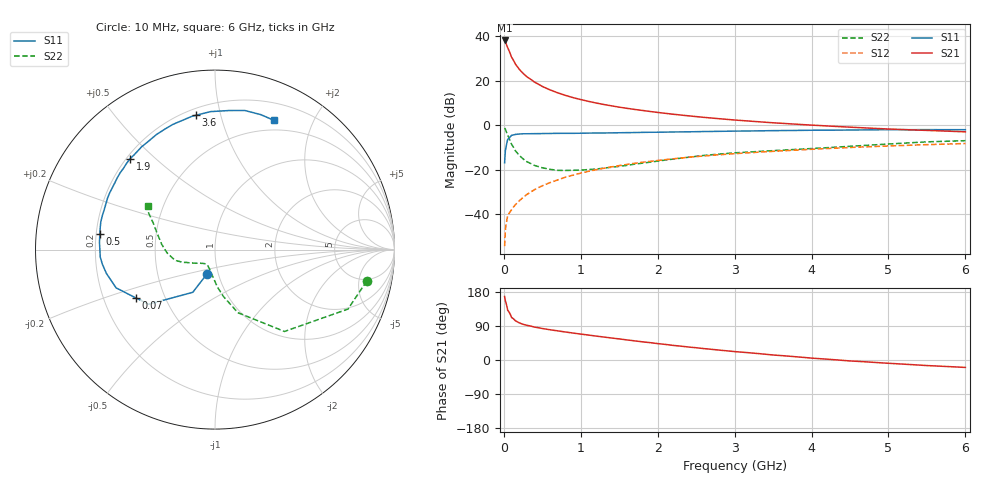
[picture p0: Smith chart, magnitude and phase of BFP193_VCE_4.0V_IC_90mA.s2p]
! (c) 2017  Infineon Technologies AG, Munich
! Infineon Technologies  Discrete & RF Semiconductors
! BFP193
! VCE =  4.0 V,  IC =  90 mA
! Common Emitter S-Parameters:  Jan 2017
# GHz  S  MA  R  50
!  f  S11  S21  S12  S22
! GHz  MAG  ANG  MAG  ANG  MAG  ANG  MAG  ANG
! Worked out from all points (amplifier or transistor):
!   77 points, 10 MHz to 6 GHz, reference 50 ohm
!   highest |S21| = 38.1 dB at 10 MHz (marker M1)
!   |S21| within 3 dB of that: start of sweep to 46.97 MHz
!   unconditionally stable (mu >= 1): 328.6 MHz to 2.511 GHz
!   at 130 MHz: K = 0.78, MSG = 32.7 dB, |S12| = -36.6 dB
!   at 2.2 GHz: K = 1.02, MAG = 9.3 dB, |S12| = -15.1 dB
!   at 6 GHz: K = 0.94, MSG = 2.6 dB, |S12| = -8.3 dB
!   S11 on the Smith chart (normalised r, x): 10 MHz: 0.88, -0.24; 70 MHz: 0.34, -0.25; 500 MHz: 0.22, +0.06; 1.9 GHz: 0.21, +0.42; 3.6 GHz: 0.24, +0.84; 6 GHz: 0.39, +1.49
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0.01  0.1424 -108.2  80.41 167.5  0.0019 79.5  0.8638 -11.7
0.02  0.2683 -117.5  76.17 156.1  0.0044 77.2  0.8115 -24.1
0.05  0.4799 -140.6  55.3 131.2  0.0091 61.6  0.5981 -49.7
0.07  0.5176 -148.8  46.24 125.7  0.0105 61.5  0.502 -55.6
0.1  0.5906 -158.8  33.96 112.3  0.0125 61.4  0.3743 -70.0
0.15  0.6194 -167.6  23.74 103.5  0.0163 63.5  0.2662 -79.7
0.2  0.6322 -172.4  18.13 98.1  0.0198 67.7  0.21 -86.2
0.25  0.6408 -176.3  14.63 94.2  0.0237 67.9  0.1748 -90.5
0.3  0.641 -179.2  12.24 91.5  0.0276 69.0  0.1507 -94.8
0.4  0.645 176.4  9.27 86.8  0.0355 71.5  0.1242 -101.0
0.5  0.6472 172.4  7.433 83.1  0.0433 71.4  0.1101 -106.6
0.7  0.6548 166.2  5.342 76.9  0.0587 72.2  0.0964 -115.8
0.9  0.656 160.2  4.162 71.1  0.0753 70.5  0.0967 -123.0
1.1  0.6637 154.5  3.433 65.8  0.0917 68.2  0.1004 -129.4
1.5  0.6755 143.7  2.542 55.6  0.1232 63.7  0.1184 -140.8
1.9  0.6929 133.1  2.035 45.8  0.1534 58.6  0.1471 -149.6
2.1  0.698 128.1  1.846 41.1  0.1679 55.9  0.164 -153.5
3.1  0.738 106.9  1.269 20.6  0.2344 42.8  0.2441 -169.7
3.6  0.7559 98.1  1.105 11.7  0.2638 36.9  0.2732 -178.2
4.1  0.77 90.3  0.982 3.6  0.2924 30.7  0.3048 172.2
5.1  0.7921 76.6  0.807 -9.8  0.3456 18.8  0.3857 155.3
6  0.7915 65.4  0.709 -19.6  0.3868 8.5  0.4479 146.8
